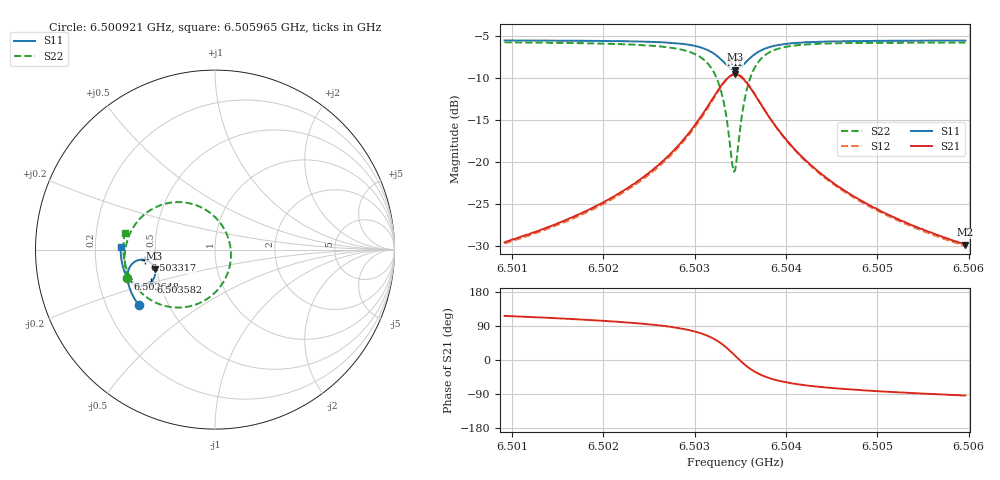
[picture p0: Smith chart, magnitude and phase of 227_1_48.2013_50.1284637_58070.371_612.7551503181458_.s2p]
#  HZ  S  RI  R  50.00
! Rohde & Schwarz Vector Network Analyzer
! Rohde-Schwarz,ZNB20-2Port,1311601062101988,3.16
! Created: UTC 3/20/2024, 11:46:11 AM
! freq[Hz]  re:S11  im:S11  re:S21  im:S21  re:S12  im:S12  re:S22  im:S22
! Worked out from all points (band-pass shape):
!   401 points, 6.500921 GHz to 6.505965 GHz, reference 50 ohm
!   highest |S21| = -9.61 dB at 6.503443 GHz (marker M1); lowest = -29.8 dB at 6.505965 GHz (marker M2)
!   |S21| within 3 dB of the highest: 6.503191 GHz to 6.503695 GHz (503.9 kHz wide, 0.00775 % of centre)
!   lowest |S11| = -9.0 dB at 6.503443 GHz (marker M3), VSWR 2.09, Z = 24.3 - j5.95 ohm
!   |S11| at or under -10 dB: nowhere
!   |S22| runs from -21.2 to -5.8 dB; largest |S21 - S12| = 0.012
!   S11 on the Smith chart (normalised r, x): 6.500921 GHz: 0.34, -0.29; 6.502648 GHz: 0.33, -0.14; 6.503317 GHz: 0.44, -0.06; 6.503582 GHz: 0.45, -0.19; 6.505965 GHz: 0.31, +0.01
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6.5009206e9  -0.4248 -0.3112  -0.0147 0.0298  -0.0132 0.03  -0.4891 -0.1568
6.5017656e9  -0.4615 -0.2489  -0.0141 0.0476  -0.0118 0.0471  -0.5028 -0.0673
6.5022196e9  -0.4776 -0.2089  -0.0115 0.0662  -0.00857 0.0654  -0.5003 -0.00337
6.5026106e9  -0.4869 -0.166  -0.00235 0.0965  0.00121 0.0942  -0.4806 0.0741
6.5026484e9  -0.4874 -0.1611  -0.000416 0.1006  0.00311 0.0982  -0.4766 0.0836
6.5029259e9  -0.4835 -0.1181  0.026 0.1431  0.0298 0.1388  -0.4211 0.1695
6.5031151e9  -0.4622 -0.0801  0.0804 0.1855  0.0829 0.1792  -0.3172 0.2421
6.5032286e9  -0.4295 -0.0592  0.1498 0.2029  0.1506 0.1966  -0.1921 0.2644
6.5033169e9  -0.3887 -0.0577  0.2296 0.1866  0.23 0.1814  -0.0543 0.2233
6.5033547e9  -0.3694 -0.0653  0.2661 0.1631  0.2669 0.1584  0.0059 0.1757
6.5034178e9  -0.3427 -0.0924  0.3139 0.0986  0.3164 0.0936  0.0778 0.0516
6.503443e9  -0.3365 -0.107  0.3239 0.0662  0.3271 0.0602  0.0884 -0.00913
6.5034682e9  -0.3335 -0.1228  0.3273 0.0322  0.3309 0.0252  0.0859 -0.0709
6.5035313e9  -0.3407 -0.1603  0.3086 -0.0459  0.3108 -0.0559  0.0293 -0.2067
6.5035817e9  -0.3573 -0.1821  0.2751 -0.0915  0.2744 -0.1027  -0.0477 -0.2772
6.5036952e9  -0.4018 -0.2014  0.1902 -0.1359  0.1849 -0.1454  -0.2191 -0.3226
6.5038592e9  -0.4481 -0.1917  0.1084 -0.1325  0.1014 -0.1375  -0.3666 -0.2755
6.5040357e9  -0.4754 -0.1704  0.064 -0.1123  0.0577 -0.1145  -0.4386 -0.2102
6.504288e9  -0.4963 -0.1404  0.0338 -0.0879  0.0292 -0.0884  -0.4818 -0.1378
6.5046537e9  -0.5115 -0.1022  0.0153 -0.0653  0.012 -0.0649  -0.5038 -0.0647
6.505133e9  -0.521 -0.0579  0.0051 -0.048  0.00279 -0.0474  -0.5103 0.00277
6.5059654e9  -0.5259 0.0126  -0.00196 -0.0322  -0.00344 -0.0314  -0.5024 0.0908
